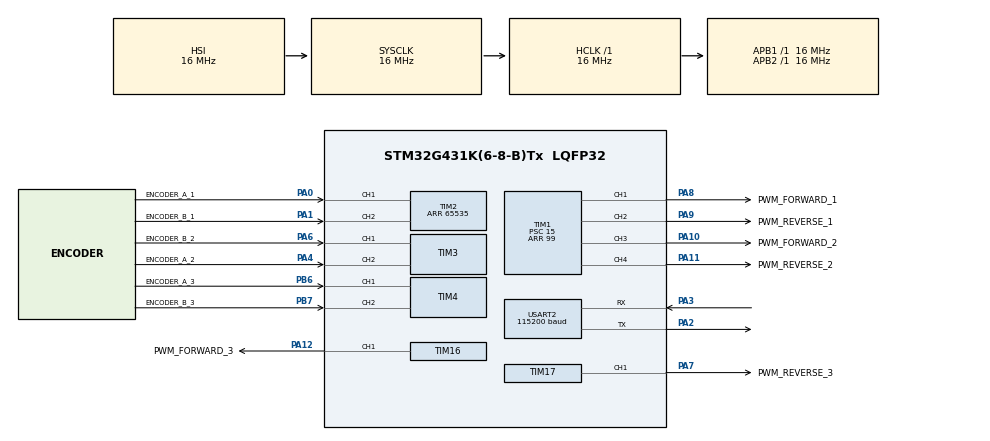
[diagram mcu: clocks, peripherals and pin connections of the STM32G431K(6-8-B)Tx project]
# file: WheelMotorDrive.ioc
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Dma.Request0=USART2_RX
Dma.USART2_RX.0.Direction=DMA_PERIPH_TO_MEMORY
Dma.USART2_RX.0.EventEnable=ENABLE
Dma.USART2_RX.0.Instance=DMA1_Channel1
Dma.USART2_RX.0.MemDataAlignment=DMA_MDATAALIGN_BYTE
Dma.USART2_RX.0.MemInc=DMA_MINC_ENABLE
Dma.USART2_RX.0.Mode=DMA_CIRCULAR
Dma.USART2_RX.0.PeriphDataAlignment=DMA_PDATAALIGN_BYTE
Dma.USART2_RX.0.PeriphInc=DMA_PINC_DISABLE
Dma.USART2_RX.0.Polarity=HAL_DMAMUX_REQ_GEN_RISING
Dma.USART2_RX.0.Priority=DMA_PRIORITY_LOW
Dma.USART2_RX.0.RequestNumber=1
Dma.USART2_RX.0.SignalID=NONE
Dma.USART2_RX.0.SyncEnable=DISABLE
Dma.USART2_RX.0.SyncPolarity=HAL_DMAMUX_SYNC_NO_EVENT
Dma.USART2_RX.0.SyncRequestNumber=1
Dma.USART2_RX.0.SyncSignalID=NONE
Mcu.Family=STM32G4
Mcu.Name=STM32G431K(6-8-B)Tx
Mcu.Package=LQFP32
NVIC.DMA1_Channel1_IRQn=true\:0\:0\:false\:false\:true\:false\:true\:true
NVIC.DMAMUX_OVR_IRQn=true\:0\:0\:false\:false\:true\:false\:true\:true
NVIC.PriorityGroup=NVIC_PRIORITYGROUP_4
NVIC.TIM6_DAC_IRQn=true\:0\:0\:false\:false\:true\:true\:true\:true
NVIC.TIM7_IRQn=true\:0\:0\:false\:false\:true\:true\:true\:true
NVIC.USART2_IRQn=true\:0\:0\:false\:false\:true\:true\:true\:true
PA0.GPIO_Label=ENCODER_A_1
PA0.Signal=S_TIM2_CH1
PA1.GPIO_Label=ENCODER_B_1
PA1.Signal=S_TIM2_CH2
PA10.GPIO_Label=PWM_FORWARD_2
PA10.Signal=S_TIM1_CH3
PA11.GPIO_Label=PWM_REVERSE_2
PA11.Signal=S_TIM1_CH4
PA12.GPIO_Label=PWM_FORWARD_3
PA12.Signal=S_TIM16_CH1
PA2.Mode=Asynchronous
PA2.Signal=USART2_TX
PA3.Mode=Asynchronous
PA3.Signal=USART2_RX
PA4.GPIO_Label=ENCODER_A_2
PA4.Signal=S_TIM3_CH2
PA6.GPIO_Label=ENCODER_B_2
PA6.Signal=S_TIM3_CH1
PA7.GPIO_Label=PWM_REVERSE_3
PA7.Signal=S_TIM17_CH1
PA8.GPIO_Label=PWM_FORWARD_1
PA8.Signal=S_TIM1_CH1
PA9.GPIO_Label=PWM_REVERSE_1
PA9.Signal=S_TIM1_CH2
PB6.GPIO_Label=ENCODER_A_3
PB6.Signal=S_TIM4_CH1
PB7.GPIO_Label=ENCODER_B_3
PB7.Signal=S_TIM4_CH2
ProjectManager.HeapSize=0x200
ProjectManager.StackSize=0x400
ProjectManager.TargetToolchain=STM32CubeIDE
RCC.AHBFreq_Value=16000000
RCC.APB1Freq_Value=16000000
RCC.APB1TimFreq_Value=16000000
RCC.APB2Freq_Value=16000000
RCC.APB2TimFreq_Value=16000000
RCC.CortexFreq_Value=16000000
RCC.EXTERNAL_CLOCK_VALUE=12288000
RCC.HCLKFreq_Value=16000000
RCC.HSE_VALUE=8000000
RCC.HSI48_VALUE=48000000
RCC.HSI_VALUE=16000000
RCC.LSE_VALUE=32768
RCC.SYSCLKFreq_VALUE=16000000
RCC.USBFreq_Value=64000000
RCC.VCOOutputFreq_Value=128000000
SH.S_TIM16_CH1.0=TIM16_CH1,PWM Generation1 CH1
SH.S_TIM17_CH1.0=TIM17_CH1,PWM Generation1 CH1
SH.S_TIM1_CH1.0=TIM1_CH1,PWM Generation1 CH1
SH.S_TIM1_CH2.0=TIM1_CH2,PWM Generation2 CH2
SH.S_TIM1_CH3.0=TIM1_CH3,PWM Generation3 CH3
SH.S_TIM1_CH4.0=TIM1_CH4,PWM Generation4 CH4
SH.S_TIM2_CH1.0=TIM2_CH1,Encoder_Interface
SH.S_TIM2_CH2.0=TIM2_CH2,Encoder_Interface
SH.S_TIM3_CH1.0=TIM3_CH1,Encoder_Interface
SH.S_TIM3_CH2.0=TIM3_CH2,Encoder_Interface
SH.S_TIM4_CH1.0=TIM4_CH1,Encoder_Interface
SH.S_TIM4_CH2.0=TIM4_CH2,Encoder_Interface
TIM1.Channel-PWM\ Generation1\ CH1=TIM_CHANNEL_1
TIM1.Channel-PWM\ Generation2\ CH2=TIM_CHANNEL_2
TIM1.Channel-PWM\ Generation3\ CH3=TIM_CHANNEL_3
TIM1.Channel-PWM\ Generation4\ CH4=TIM_CHANNEL_4
TIM1.PeriodNoDither=99
TIM1.Prescaler=15
TIM16.Channel=TIM_CHANNEL_1
TIM16.PeriodNoDither=99
TIM16.Prescaler=15
TIM17.Channel=TIM_CHANNEL_1
TIM17.PeriodNoDither=99
TIM17.Prescaler=15
TIM2.Channel-PWM\ Generation3\ CH3=TIM_CHANNEL_3
TIM2.Channel-PWM\ Generation4\ CH4=TIM_CHANNEL_4
TIM2.EncoderMode=TIM_ENCODERMODE_TI12
TIM2.PeriodNoDither=65535
TIM3.EncoderMode=TIM_ENCODERMODE_TI12
TIM4.EncoderMode=TIM_ENCODERMODE_TI12
TIM6.PeriodNoDither=9
TIM6.Prescaler=15999
TIM7.PeriodNoDither=19
TIM7.Prescaler=15999
USART2.BaudRate=115200
USART2.VirtualMode-Asynchronous=VM_ASYNC
VP_SYS_VS_DBSignals.Mode=DisableDeadBatterySignals
VP_TIM16_VS_ClockSourceINT.Mode=Enable_Timer
VP_TIM17_VS_ClockSourceINT.Mode=Enable_Timer
VP_TIM6_VS_ClockSourceINT.Mode=Enable_Timer
VP_TIM7_VS_ClockSourceINT.Mode=Enable_Timer
board=custom

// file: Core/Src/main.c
/* USER CODE BEGIN Header */
/**
  ******************************************************************************
  * @file           : main.c
  * @brief          : Main program body
  ******************************************************************************
  * @attention
  *
  * Copyright (c) 2025 STMicroelectronics.
  * All rights reserved.
  *
  * This software is licensed under terms that can be found in the LICENSE file
  * in the root directory of this software component.
  * If no LICENSE file comes with this software, it is provided AS-IS.
  *
  ******************************************************************************
  */
/* USER CODE END Header */
#include "main.h"

/* USER CODE BEGIN Includes */
#include <stdio.h>
#include <string.h>
#include "pid.h"
/* USER CODE END Includes */

/* USER CODE BEGIN PM */
#define ENCODER_RESOLUSION 8391.0f
#define CIRCUMFERENCE	   (0.06f*3.14f)
#define INTERRUPT_PERIOD   0.01f	// 100Hz
#define CONTROL_CYCLE	   0.05f	// 50Hz
#define BUFF_SIZE 200
#define CHAR_CR 0x0d
#define TRUE 1
#define FALSE 0
#define QUEUESIZE 140
#define PACKETSIZE 14
/* USER CODE END PM */

TIM_HandleTypeDef htim1;
TIM_HandleTypeDef htim2;
TIM_HandleTypeDef htim3;
TIM_HandleTypeDef htim4;
TIM_HandleTypeDef htim6;
TIM_HandleTypeDef htim7;
TIM_HandleTypeDef htim16;
TIM_HandleTypeDef htim17;

UART_HandleTypeDef huart2;
DMA_HandleTypeDef hdma_usart2_rx;

/* USER CODE BEGIN PV */
//velocity
PID pid[3];
float velocity[3];
float targetVelocity[3];
int cur=0;

// DMA Buffer
typedef union {
  uint8_t byte[4];
  float value;
} U32Bytes;
uint8_t rxBuffer[PACKETSIZE];

// Queue
typedef struct Queue {
  uint8_t data[QUEUESIZE];
  int head;
  int tail;
} Queue;
Queue queue;

typedef struct Motor {
  PID pid;
  float velocity;
  TIM_HandleTypeDef *forwardTim;
  int forwardTimChannel;
  TIM_HandleTypeDef *backwardTim;
  int backwardTimChannel;
} Motor;
Motor motor[3];
/* USER CODE END PV */

void SystemClock_Config(void);
static void MX_GPIO_Init(void);
static void MX_DMA_Init(void);
static void MX_USART2_UART_Init(void);
static void MX_TIM1_Init(void);
static void MX_TIM2_Init(void);
static void MX_TIM3_Init(void);
static void MX_TIM4_Init(void);
static void MX_TIM16_Init(void);
static void MX_TIM17_Init(void);
static void MX_TIM6_Init(void);
static void MX_TIM7_Init(void);

/* USER CODE BEGIN 0 */
// Queue utils
void Add_Queue() {
  memcpy(queue.data+queue.tail, rxBuffer, PACKETSIZE);
  queue.tail = (queue.tail+PACKETSIZE)%QUEUESIZE;
}

// search \r\n
uint8_t* Search_Queue() {
  if (queue.head == queue.tail) {
      return NULL;
  }

  // declare cur and next
  int cur  = queue.head + 12;
  int next = (cur+1)%QUEUESIZE;

  // while
  while(1){
      // if next==tail
      	// return NODATA
      if (next == queue.tail) {
	  return NULL;
      }
      // if find \r\n
	// update qeueue.head
        // return cur-12
      if (queue.data[cur] == '\r' && queue.data[next] == '\n') {
	  queue.head = (next+1)%QUEUESIZE;
	  return &queue.data[cur-PACKETSIZE+2];
      }

      // if no \r\n
        // update cur and next
      cur = next;
      next = (next+1)%QUEUESIZE;
  }
}

// DMA callback
void HAL_UART_RxCpltCallback(UART_HandleTypeDef *huart) {
  if (huart->Instance == USART2) {
      // add queue
//      if (cur % 2 == 0) {
//       __HAL_TIM_SET_COMPARE(&htim1, TIM_CHANNEL_3, 10);
//	} else {
//       __HAL_TIM_SET_COMPARE(&htim1, TIM_CHANNEL_3, 100);
//	}
//      cur++;
      Add_Queue();

      // search queue
      while(1) {
	  uint8_t* ptr = Search_Queue();
	  if (ptr == NULL) {
	      break;
	  }

	  // copy
	  for (int i=0; i<3; i++) {
	      U32Bytes tmp;
	      memcpy(tmp.byte, ptr+i*4, 4);
//	      inputVel[i] = tmp.value;
	      pid_reset_setpoint(&motor[i].pid, tmp.value);
	  }
//	  printf("\r\n");
      }
  }
}

void Encoder2Velocity(void)
{
  // Read Encoder value and reset
  int16_t Enc_Buff1 = (int16_t)(TIM2->CNT);
  int16_t Enc_Buff2 = (int16_t)(TIM3->CNT);
  int16_t Enc_Buff3 = (int16_t)(TIM4->CNT);
  TIM2->CNT = 0;
  TIM3->CNT = 0;
  TIM4->CNT = 0;

  motor[0].velocity = (Enc_Buff1/ENCODER_RESOLUSION)*CIRCUMFERENCE/INTERRUPT_PERIOD;
  motor[1].velocity = (Enc_Buff2/ENCODER_RESOLUSION)*CIRCUMFERENCE/INTERRUPT_PERIOD;
  motor[2].velocity = (Enc_Buff3/ENCODER_RESOLUSION)*CIRCUMFERENCE/INTERRUPT_PERIOD;

  U32Bytes outputVel[3];
  outputVel[0].value = motor[0].velocity;
  outputVel[1].value = motor[1].velocity;
  outputVel[2].value = motor[2].velocity;

  for (int i=0; i<3; i++ ) {
      HAL_UART_Transmit(&huart2,(uint8_t *)outputVel[i].byte,4,10);
  }
  printf("\r\n");
//  printf("%f\r\n", motor[0].velocity);

}

void Control(void) {
  for (int i=0; i<3; i++ ) {
//      if (i > 0) continue;
//      printf("%f %f %f %f %f\r\n", 0.0, motor[i].pid.setpoint, motor[i].velocity, 0.12, -0.12);
      float out = pid_iter(&motor[i].pid, motor[i].velocity);
//      printf("%f %f %f %f %f\r\n", 0.0, motor[i].pid.setpoint, motor[i].velocity, 0.12, -0.12);

      if (out >= 0) {
	  out = 100 - out;
	  __HAL_TIM_SET_COMPARE(motor[i].forwardTim, motor[i].forwardTimChannel, (int)(out)); // forward
	  __HAL_TIM_SET_COMPARE(motor[i].backwardTim, motor[i].backwardTimChannel, 100);
      } else {
	  out = 100 + out;
	  __HAL_TIM_SET_COMPARE(motor[i].forwardTim, motor[i].forwardTimChannel, 100); // forward
	  __HAL_TIM_SET_COMPARE(motor[i].backwardTim, motor[i].backwardTimChannel, (int)(out));
      }
  }
//  printf("%lf %lf \r\n", motor[2].pid.setpoint, motor[2].velocity);
}

void HAL_TIM_PeriodElapsedCallback(TIM_HandleTypeDef *htim)
{
  if (htim == &htim6) { // 10Hz
      Encoder2Velocity();
//      printf("%f\r\n", velocity1);
  }
  if (htim == &htim7) {
      Control();
  }
}

int _write(int file, char *ptr, int len)
{
  HAL_UART_Transmit(&huart2,(uint8_t *)ptr,len,10);
  return len;
}
/* USER CODE END 0 */

int main(void)
{

  /* USER CODE BEGIN 1 */
  setbuf(stdout, NULL);
  /* USER CODE END 1 */

  /* MCU Configuration--------------------------------------------------------*/

  /* Reset of all peripherals, Initializes the Flash interface and the Systick. */
  HAL_Init();

  /* Configure the system clock */
  SystemClock_Config();

  /* Initialize all configured peripherals */
  MX_GPIO_Init();
  MX_DMA_Init();
  MX_USART2_UART_Init();
  MX_TIM1_Init();
  MX_TIM2_Init();
  MX_TIM3_Init();
  MX_TIM4_Init();
  MX_TIM16_Init();
  MX_TIM17_Init();
  MX_TIM6_Init();
  MX_TIM7_Init();
  /* USER CODE BEGIN 2 */
  // PWM1
  HAL_TIM_PWM_Start_IT(&htim1, TIM_CHANNEL_1); // backward
  __HAL_TIM_SET_COMPARE(&htim1, TIM_CHANNEL_1, 100);
  HAL_TIM_PWM_Start_IT(&htim1, TIM_CHANNEL_2); // forward
  __HAL_TIM_SET_COMPARE(&htim1, TIM_CHANNEL_2, 100);

  // PWM2
  HAL_TIM_PWM_Start_IT(&htim1, TIM_CHANNEL_3); // forward
  __HAL_TIM_SET_COMPARE(&htim1, TIM_CHANNEL_3, 100);
  HAL_TIM_PWM_Start_IT(&htim1, TIM_CHANNEL_4); // reverse
  __HAL_TIM_SET_COMPARE(&htim1, TIM_CHANNEL_4, 100);

  // PWM3
  HAL_TIM_PWM_Start_IT(&htim16, TIM_CHANNEL_1); // forward
  __HAL_TIM_SET_COMPARE(&htim16, TIM_CHANNEL_1, 100);
  HAL_TIM_PWM_Start_IT(&htim17, TIM_CHANNEL_1); // reverse
  __HAL_TIM_SET_COMPARE(&htim17, TIM_CHANNEL_1, 100);

  /* USER CODE END 2 */

  /* Infinite loop */
  /* USER CODE BEGIN WHILE */
  HAL_TIM_Encoder_Start(&htim2, TIM_CHANNEL_ALL);
  HAL_TIM_Encoder_Start(&htim3, TIM_CHANNEL_ALL);
  HAL_TIM_Encoder_Start(&htim4, TIM_CHANNEL_ALL);

  // Motor0
  pid_init(&motor[0].pid, CONTROL_CYCLE, 500, 5000, 100, 0.0);
  motor[0].forwardTim = &htim1;
  motor[0].forwardTimChannel = TIM_CHANNEL_2;
  motor[0].backwardTim = &htim1;
  motor[0].backwardTimChannel = TIM_CHANNEL_1;

  // Motor1
  pid_init(&motor[1].pid, CONTROL_CYCLE, 500, 5000, 100, 0.0);
  motor[1].forwardTim = &htim1;
  motor[1].forwardTimChannel = TIM_CHANNEL_3;
  motor[1].backwardTim = &htim1;
  motor[1].backwardTimChannel = TIM_CHANNEL_4;

  // Motor2
  pid_init(&motor[2].pid, CONTROL_CYCLE, 500, 5000, 100, 0.0);
  motor[2].forwardTim = &htim17;
  motor[2].forwardTimChannel = TIM_CHANNEL_1;
  motor[2].backwardTim = &htim16;
  motor[2].backwardTimChannel = TIM_CHANNEL_1;

  // Start interrupt
  HAL_TIM_Base_Start_IT(&htim6);
  HAL_TIM_Base_Start_IT(&htim7);

  // start DMA
  HAL_UART_Receive_DMA(&huart2, rxBuffer, PACKETSIZE); // buffersize=12 (32bit * 4 = 12byte)
  while (1)
  {
//    pid_reset_setpoint(&motor[0].pid, 0.05);
//    HAL_Delay(1000);
//    pid_reset_setpoint(&motor[0].pid, 0.1);
//    HAL_Delay(1000);
//    pid_reset_setpoint(&motor[0].pid, 0.0);
//    HAL_Delay(1000);
//    pid_reset_setpoint(&motor[0].pid, -0.05);
//    HAL_Delay(1000);
//    pid_reset_setpoint(&motor[0].pid, -0.1);
//    HAL_Delay(1000);
    /* USER CODE END WHILE */

  }
}

void SystemClock_Config(void)
{
  RCC_OscInitTypeDef RCC_OscInitStruct = {0};
  RCC_ClkInitTypeDef RCC_ClkInitStruct = {0};

  /** Configure the main internal regulator output voltage
  */
  HAL_PWREx_ControlVoltageScaling(PWR_REGULATOR_VOLTAGE_SCALE1);

  /** Initializes the RCC Oscillators according to the specified parameters
  * in the RCC_OscInitTypeDef structure.
  */
  RCC_OscInitStruct.OscillatorType = RCC_OSCILLATORTYPE_HSI;
  RCC_OscInitStruct.HSIState = RCC_HSI_ON;
  RCC_OscInitStruct.HSICalibrationValue = RCC_HSICALIBRATION_DEFAULT;
  RCC_OscInitStruct.PLL.PLLState = RCC_PLL_NONE;
  if (HAL_RCC_OscConfig(&RCC_OscInitStruct) != HAL_OK)
  {
    Error_Handler();
  }

  /** Initializes the CPU, AHB and APB buses clocks
  */
  RCC_ClkInitStruct.ClockType = RCC_CLOCKTYPE_HCLK|RCC_CLOCKTYPE_SYSCLK
                              |RCC_CLOCKTYPE_PCLK1|RCC_CLOCKTYPE_PCLK2;
  RCC_ClkInitStruct.SYSCLKSource = RCC_SYSCLKSOURCE_HSI;
  RCC_ClkInitStruct.AHBCLKDivider = RCC_SYSCLK_DIV1;
  RCC_ClkInitStruct.APB1CLKDivider = RCC_HCLK_DIV1;
  RCC_ClkInitStruct.APB2CLKDivider = RCC_HCLK_DIV1;

  if (HAL_RCC_ClockConfig(&RCC_ClkInitStruct, FLASH_LATENCY_0) != HAL_OK)
  {
    Error_Handler();
  }
}

static void MX_TIM1_Init(void)
{

  TIM_MasterConfigTypeDef sMasterConfig = {0};
  TIM_OC_InitTypeDef sConfigOC = {0};
  TIM_BreakDeadTimeConfigTypeDef sBreakDeadTimeConfig = {0};

  htim1.Instance = TIM1;
  htim1.Init.Prescaler = 15;
  htim1.Init.CounterMode = TIM_COUNTERMODE_UP;
  htim1.Init.Period = 99;
  htim1.Init.ClockDivision = TIM_CLOCKDIVISION_DIV1;
  htim1.Init.RepetitionCounter = 0;
  htim1.Init.AutoReloadPreload = TIM_AUTORELOAD_PRELOAD_DISABLE;
  if (HAL_TIM_PWM_Init(&htim1) != HAL_OK)
  {
    Error_Handler();
  }
  sMasterConfig.MasterOutputTrigger = TIM_TRGO_RESET;
  sMasterConfig.MasterOutputTrigger2 = TIM_TRGO2_RESET;
  sMasterConfig.MasterSlaveMode = TIM_MASTERSLAVEMODE_DISABLE;
  if (HAL_TIMEx_MasterConfigSynchronization(&htim1, &sMasterConfig) != HAL_OK)
  {
    Error_Handler();
  }
  sConfigOC.OCMode = TIM_OCMODE_PWM1;
  sConfigOC.Pulse = 0;
  sConfigOC.OCPolarity = TIM_OCPOLARITY_HIGH;
  sConfigOC.OCNPolarity = TIM_OCNPOLARITY_HIGH;
  sConfigOC.OCFastMode = TIM_OCFAST_DISABLE;
  sConfigOC.OCIdleState = TIM_OCIDLESTATE_RESET;
  sConfigOC.OCNIdleState = TIM_OCNIDLESTATE_RESET;
  if (HAL_TIM_PWM_ConfigChannel(&htim1, &sConfigOC, TIM_CHANNEL_1) != HAL_OK)
  {
    Error_Handler();
  }
  if (HAL_TIM_PWM_ConfigChannel(&htim1, &sConfigOC, TIM_CHANNEL_2) != HAL_OK)
  {
    Error_Handler();
  }
  if (HAL_TIM_PWM_ConfigChannel(&htim1, &sConfigOC, TIM_CHANNEL_3) != HAL_OK)
  {
    Error_Handler();
  }
  if (HAL_TIM_PWM_ConfigChannel(&htim1, &sConfigOC, TIM_CHANNEL_4) != HAL_OK)
  {
    Error_Handler();
  }
  sBreakDeadTimeConfig.OffStateRunMode = TIM_OSSR_DISABLE;
  sBreakDeadTimeConfig.OffStateIDLEMode = TIM_OSSI_DISABLE;
  sBreakDeadTimeConfig.LockLevel = TIM_LOCKLEVEL_OFF;
  sBreakDeadTimeConfig.DeadTime = 0;
  sBreakDeadTimeConfig.BreakState = TIM_BREAK_DISABLE;
  sBreakDeadTimeConfig.BreakPolarity = TIM_BREAKPOLARITY_HIGH;
  sBreakDeadTimeConfig.BreakFilter = 0;
  sBreakDeadTimeConfig.BreakAFMode = TIM_BREAK_AFMODE_INPUT;
  sBreakDeadTimeConfig.Break2State = TIM_BREAK2_DISABLE;
  sBreakDeadTimeConfig.Break2Polarity = TIM_BREAK2POLARITY_HIGH;
  sBreakDeadTimeConfig.Break2Filter = 0;
  sBreakDeadTimeConfig.Break2AFMode = TIM_BREAK_AFMODE_INPUT;
  sBreakDeadTimeConfig.AutomaticOutput = TIM_AUTOMATICOUTPUT_DISABLE;
  if (HAL_TIMEx_ConfigBreakDeadTime(&htim1, &sBreakDeadTimeConfig) != HAL_OK)
  {
    Error_Handler();
  }
  HAL_TIM_MspPostInit(&htim1);

}

static void MX_TIM2_Init(void)
{

  TIM_Encoder_InitTypeDef sConfig = {0};
  TIM_MasterConfigTypeDef sMasterConfig = {0};

  htim2.Instance = TIM2;
  htim2.Init.Prescaler = 0;
  htim2.Init.CounterMode = TIM_COUNTERMODE_UP;
  htim2.Init.Period = 65535;
  htim2.Init.ClockDivision = TIM_CLOCKDIVISION_DIV1;
  htim2.Init.AutoReloadPreload = TIM_AUTORELOAD_PRELOAD_DISABLE;
  sConfig.EncoderMode = TIM_ENCODERMODE_TI12;
  sConfig.IC1Polarity = TIM_ICPOLARITY_RISING;
  sConfig.IC1Selection = TIM_ICSELECTION_DIRECTTI;
  sConfig.IC1Prescaler = TIM_ICPSC_DIV1;
  sConfig.IC1Filter = 0;
  sConfig.IC2Polarity = TIM_ICPOLARITY_RISING;
  sConfig.IC2Selection = TIM_ICSELECTION_DIRECTTI;
  sConfig.IC2Prescaler = TIM_ICPSC_DIV1;
  sConfig.IC2Filter = 0;
  if (HAL_TIM_Encoder_Init(&htim2, &sConfig) != HAL_OK)
  {
    Error_Handler();
  }
  sMasterConfig.MasterOutputTrigger = TIM_TRGO_RESET;
  sMasterConfig.MasterSlaveMode = TIM_MASTERSLAVEMODE_DISABLE;
  if (HAL_TIMEx_MasterConfigSynchronization(&htim2, &sMasterConfig) != HAL_OK)
  {
    Error_Handler();
  }

}

static void MX_TIM3_Init(void)
{

  TIM_Encoder_InitTypeDef sConfig = {0};
  TIM_MasterConfigTypeDef sMasterConfig = {0};

  htim3.Instance = TIM3;
  htim3.Init.Prescaler = 0;
  htim3.Init.CounterMode = TIM_COUNTERMODE_UP;
  htim3.Init.Period = 65535;
  htim3.Init.ClockDivision = TIM_CLOCKDIVISION_DIV1;
  htim3.Init.AutoReloadPreload = TIM_AUTORELOAD_PRELOAD_DISABLE;
  sConfig.EncoderMode = TIM_ENCODERMODE_TI12;
  sConfig.IC1Polarity = TIM_ICPOLARITY_RISING;
  sConfig.IC1Selection = TIM_ICSELECTION_DIRECTTI;
  sConfig.IC1Prescaler = TIM_ICPSC_DIV1;
  sConfig.IC1Filter = 0;
  sConfig.IC2Polarity = TIM_ICPOLARITY_RISING;
  sConfig.IC2Selection = TIM_ICSELECTION_DIRECTTI;
  sConfig.IC2Prescaler = TIM_ICPSC_DIV1;
  sConfig.IC2Filter = 0;
  if (HAL_TIM_Encoder_Init(&htim3, &sConfig) != HAL_OK)
  {
    Error_Handler();
  }
  sMasterConfig.MasterOutputTrigger = TIM_TRGO_RESET;
  sMasterConfig.MasterSlaveMode = TIM_MASTERSLAVEMODE_DISABLE;
  if (HAL_TIMEx_MasterConfigSynchronization(&htim3, &sMasterConfig) != HAL_OK)
  {
    Error_Handler();
  }

}

static void MX_TIM4_Init(void)
{

  TIM_Encoder_InitTypeDef sConfig = {0};
  TIM_MasterConfigTypeDef sMasterConfig = {0};

  htim4.Instance = TIM4;
  htim4.Init.Prescaler = 0;
  htim4.Init.CounterMode = TIM_COUNTERMODE_UP;
  htim4.Init.Period = 65535;
  htim4.Init.ClockDivision = TIM_CLOCKDIVISION_DIV1;
  htim4.Init.AutoReloadPreload = TIM_AUTORELOAD_PRELOAD_DISABLE;
  sConfig.EncoderMode = TIM_ENCODERMODE_TI12;
  sConfig.IC1Polarity = TIM_ICPOLARITY_RISING;
  sConfig.IC1Selection = TIM_ICSELECTION_DIRECTTI;
  sConfig.IC1Prescaler = TIM_ICPSC_DIV1;
  sConfig.IC1Filter = 0;
  sConfig.IC2Polarity = TIM_ICPOLARITY_RISING;
  sConfig.IC2Selection = TIM_ICSELECTION_DIRECTTI;
  sConfig.IC2Prescaler = TIM_ICPSC_DIV1;
  sConfig.IC2Filter = 0;
  if (HAL_TIM_Encoder_Init(&htim4, &sConfig) != HAL_OK)
  {
    Error_Handler();
  }
  sMasterConfig.MasterOutputTrigger = TIM_TRGO_RESET;
  sMasterConfig.MasterSlaveMode = TIM_MASTERSLAVEMODE_DISABLE;
  if (HAL_TIMEx_MasterConfigSynchronization(&htim4, &sMasterConfig) != HAL_OK)
  {
    Error_Handler();
  }

}

static void MX_TIM6_Init(void)
{

  TIM_MasterConfigTypeDef sMasterConfig = {0};

  htim6.Instance = TIM6;
  htim6.Init.Prescaler = 15999;
  htim6.Init.CounterMode = TIM_COUNTERMODE_UP;
  htim6.Init.Period = 9;
  htim6.Init.AutoReloadPreload = TIM_AUTORELOAD_PRELOAD_DISABLE;
  if (HAL_TIM_Base_Init(&htim6) != HAL_OK)
  {
    Error_Handler();
  }
  sMasterConfig.MasterOutputTrigger = TIM_TRGO_RESET;
  sMasterConfig.MasterSlaveMode = TIM_MASTERSLAVEMODE_DISABLE;
  if (HAL_TIMEx_MasterConfigSynchronization(&htim6, &sMasterConfig) != HAL_OK)
  {
    Error_Handler();
  }

}

static void MX_TIM7_Init(void)
{

  TIM_MasterConfigTypeDef sMasterConfig = {0};

  htim7.Instance = TIM7;
  htim7.Init.Prescaler = 15999;
  htim7.Init.CounterMode = TIM_COUNTERMODE_UP;
  htim7.Init.Period = 19;
  htim7.Init.AutoReloadPreload = TIM_AUTORELOAD_PRELOAD_DISABLE;
  if (HAL_TIM_Base_Init(&htim7) != HAL_OK)
  {
    Error_Handler();
  }
  sMasterConfig.MasterOutputTrigger = TIM_TRGO_RESET;
  sMasterConfig.MasterSlaveMode = TIM_MASTERSLAVEMODE_DISABLE;
  if (HAL_TIMEx_MasterConfigSynchronization(&htim7, &sMasterConfig) != HAL_OK)
  {
    Error_Handler();
  }

}

static void MX_TIM16_Init(void)
{

  TIM_OC_InitTypeDef sConfigOC = {0};
  TIM_BreakDeadTimeConfigTypeDef sBreakDeadTimeConfig = {0};

  htim16.Instance = TIM16;
  htim16.Init.Prescaler = 15;
  htim16.Init.CounterMode = TIM_COUNTERMODE_UP;
  htim16.Init.Period = 99;
  htim16.Init.ClockDivision = TIM_CLOCKDIVISION_DIV1;
  htim16.Init.RepetitionCounter = 0;
  htim16.Init.AutoReloadPreload = TIM_AUTORELOAD_PRELOAD_DISABLE;
  if (HAL_TIM_Base_Init(&htim16) != HAL_OK)
  {
    Error_Handler();
  }
  if (HAL_TIM_PWM_Init(&htim16) != HAL_OK)
  {
    Error_Handler();
  }
  sConfigOC.OCMode = TIM_OCMODE_PWM1;
  sConfigOC.Pulse = 0;
  sConfigOC.OCPolarity = TIM_OCPOLARITY_HIGH;
  sConfigOC.OCNPolarity = TIM_OCNPOLARITY_HIGH;
  sConfigOC.OCFastMode = TIM_OCFAST_DISABLE;
  sConfigOC.OCIdleState = TIM_OCIDLESTATE_RESET;
  sConfigOC.OCNIdleState = TIM_OCNIDLESTATE_RESET;
  if (HAL_TIM_PWM_ConfigChannel(&htim16, &sConfigOC, TIM_CHANNEL_1) != HAL_OK)
  {
    Error_Handler();
  }
  sBreakDeadTimeConfig.OffStateRunMode = TIM_OSSR_DISABLE;
  sBreakDeadTimeConfig.OffStateIDLEMode = TIM_OSSI_DISABLE;
  sBreakDeadTimeConfig.LockLevel = TIM_LOCKLEVEL_OFF;
  sBreakDeadTimeConfig.DeadTime = 0;
  sBreakDeadTimeConfig.BreakState = TIM_BREAK_DISABLE;
  sBreakDeadTimeConfig.BreakPolarity = TIM_BREAKPOLARITY_HIGH;
  sBreakDeadTimeConfig.BreakFilter = 0;
  sBreakDeadTimeConfig.AutomaticOutput = TIM_AUTOMATICOUTPUT_DISABLE;
  if (HAL_TIMEx_ConfigBreakDeadTime(&htim16, &sBreakDeadTimeConfig) != HAL_OK)
  {
    Error_Handler();
  }
  HAL_TIM_MspPostInit(&htim16);

}

static void MX_TIM17_Init(void)
{

  TIM_OC_InitTypeDef sConfigOC = {0};
  TIM_BreakDeadTimeConfigTypeDef sBreakDeadTimeConfig = {0};

  htim17.Instance = TIM17;
  htim17.Init.Prescaler = 15;
  htim17.Init.CounterMode = TIM_COUNTERMODE_UP;
  htim17.Init.Period = 99;
  htim17.Init.ClockDivision = TIM_CLOCKDIVISION_DIV1;
  htim17.Init.RepetitionCounter = 0;
  htim17.Init.AutoReloadPreload = TIM_AUTORELOAD_PRELOAD_DISABLE;
  if (HAL_TIM_Base_Init(&htim17) != HAL_OK)
  {
    Error_Handler();
  }
  if (HAL_TIM_PWM_Init(&htim17) != HAL_OK)
  {
    Error_Handler();
  }
  sConfigOC.OCMode = TIM_OCMODE_PWM1;
  sConfigOC.Pulse = 0;
  sConfigOC.OCPolarity = TIM_OCPOLARITY_HIGH;
  sConfigOC.OCNPolarity = TIM_OCNPOLARITY_HIGH;
  sConfigOC.OCFastMode = TIM_OCFAST_DISABLE;
  sConfigOC.OCIdleState = TIM_OCIDLESTATE_RESET;
  sConfigOC.OCNIdleState = TIM_OCNIDLESTATE_RESET;
  if (HAL_TIM_PWM_ConfigChannel(&htim17, &sConfigOC, TIM_CHANNEL_1) != HAL_OK)
  {
    Error_Handler();
  }
  sBreakDeadTimeConfig.OffStateRunMode = TIM_OSSR_DISABLE;
  sBreakDeadTimeConfig.OffStateIDLEMode = TIM_OSSI_DISABLE;
  sBreakDeadTimeConfig.LockLevel = TIM_LOCKLEVEL_OFF;
  sBreakDeadTimeConfig.DeadTime = 0;
  sBreakDeadTimeConfig.BreakState = TIM_BREAK_DISABLE;
  sBreakDeadTimeConfig.BreakPolarity = TIM_BREAKPOLARITY_HIGH;
  sBreakDeadTimeConfig.BreakFilter = 0;
  sBreakDeadTimeConfig.AutomaticOutput = TIM_AUTOMATICOUTPUT_DISABLE;
  if (HAL_TIMEx_ConfigBreakDeadTime(&htim17, &sBreakDeadTimeConfig) != HAL_OK)
  {
    Error_Handler();
  }
  HAL_TIM_MspPostInit(&htim17);

}

static void MX_USART2_UART_Init(void)
{

  huart2.Instance = USART2;
  huart2.Init.BaudRate = 115200;
  huart2.Init.WordLength = UART_WORDLENGTH_8B;
  huart2.Init.StopBits = UART_STOPBITS_1;
  huart2.Init.Parity = UART_PARITY_NONE;
  huart2.Init.Mode = UART_MODE_TX_RX;
  huart2.Init.HwFlowCtl = UART_HWCONTROL_NONE;
  huart2.Init.OverSampling = UART_OVERSAMPLING_16;
  huart2.Init.OneBitSampling = UART_ONE_BIT_SAMPLE_DISABLE;
  huart2.Init.ClockPrescaler = UART_PRESCALER_DIV1;
  huart2.AdvancedInit.AdvFeatureInit = UART_ADVFEATURE_NO_INIT;
  if (HAL_UART_Init(&huart2) != HAL_OK)
  {
    Error_Handler();
  }
  if (HAL_UARTEx_SetTxFifoThreshold(&huart2, UART_TXFIFO_THRESHOLD_1_8) != HAL_OK)
  {
    Error_Handler();
  }
  if (HAL_UARTEx_SetRxFifoThreshold(&huart2, UART_RXFIFO_THRESHOLD_1_8) != HAL_OK)
  {
    Error_Handler();
  }
  if (HAL_UARTEx_DisableFifoMode(&huart2) != HAL_OK)
  {
    Error_Handler();
  }

}

static void MX_DMA_Init(void)
{

  /* DMA controller clock enable */
  __HAL_RCC_DMAMUX1_CLK_ENABLE();
  __HAL_RCC_DMA1_CLK_ENABLE();

  /* DMA interrupt init */
  /* DMA1_Channel1_IRQn interrupt configuration */
  HAL_NVIC_SetPriority(DMA1_Channel1_IRQn, 0, 0);
  HAL_NVIC_EnableIRQ(DMA1_Channel1_IRQn);
  /* DMAMUX_OVR_IRQn interrupt configuration */
  HAL_NVIC_SetPriority(DMAMUX_OVR_IRQn, 0, 0);
  HAL_NVIC_EnableIRQ(DMAMUX_OVR_IRQn);

}

static void MX_GPIO_Init(void)
{

  /* GPIO Ports Clock Enable */
  __HAL_RCC_GPIOA_CLK_ENABLE();
  __HAL_RCC_GPIOB_CLK_ENABLE();

}

void Error_Handler(void)
{
  __disable_irq();
  while (1)
  {
  }
}
